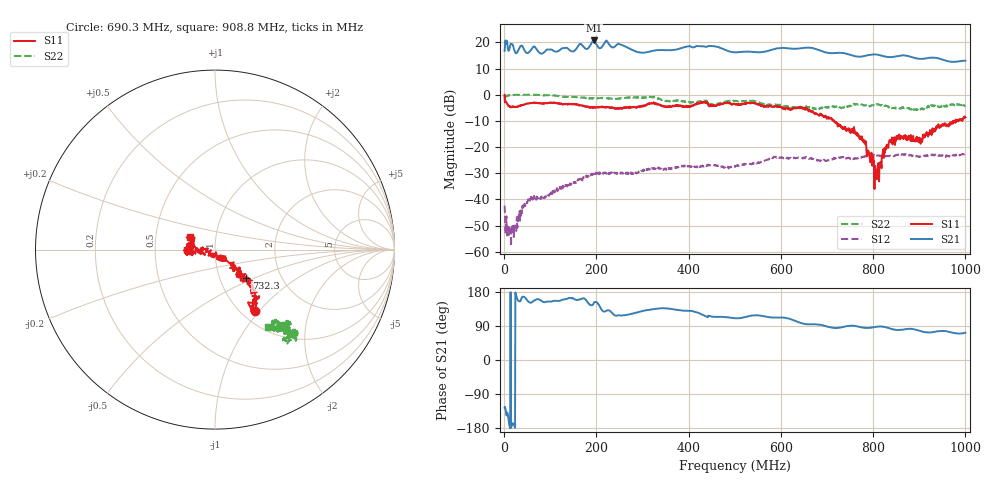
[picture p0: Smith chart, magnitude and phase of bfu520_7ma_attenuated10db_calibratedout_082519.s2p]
! created by kelvin at Sun Aug 25 10:57:43 EDT 2019
! generated using vna/J Version 3.3.2
# Hz S DB R 50.0
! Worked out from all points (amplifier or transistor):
!   1501 points, 1 MHz to 1 GHz, reference 50 ohm
!   highest |S21| = 20.8 dB at 194.1 MHz (marker M1)
!   |S21| within 3 dB of that: 382.6 MHz to 471.3 MHz (88.76 MHz wide, 20.8 % of centre)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
!   unconditionally stable (mu >= 1): 687.1 MHz to 789.8 MHz; 832.2 MHz to 850.4 MHz; 878.2 MHz to 916 MHz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
!   at 167.5 MHz: K = 0.24, MSG = 25.6 dB, |S12| = -31.9 dB
!   at 500.5 MHz: K = 0.45, MSG = 21.9 dB, |S12| = -27.6 dB
!   at 1 GHz: K = 0.78, MSG = 17.9 dB, |S12| = -22.8 dB
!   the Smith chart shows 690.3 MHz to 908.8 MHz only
!   S11 on the Smith chart (normalised r, x): 690.3 MHz: 1.15, -0.94; 732.3 MHz: 1.34, -0.45; 908.8 MHz: 0.75, +0.10
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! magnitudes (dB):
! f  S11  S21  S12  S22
! 1 MHz  0.0  16.8  -42.4  -0.7
! 6.994 MHz  -3.6  19.3  -50.3  -0.4
! 16.32 MHz  -4.6  19.4  -51.2  -0.1
! 53.61 MHz  -3.3  16.2  -40.3  0.0
! 148.9 MHz  -3.7  16.6  -33.9  -0.9
! 167.5 MHz  -4.1  19.2  -31.9  -1.0
! 179.5 MHz  -4.7  17.5  -31.3  -1.2
! 194.1 MHz  -4.7  20.8  -30.2  -1.3
! 207.5 MHz  -4.6  17.8  -29.7  -1.3
! 221.4 MHz  -4.9  20.7  -30.2  -1.3
! 294 MHz  -4.6  16.2  -29.6  -1.2
! 334 MHz  -3.7  17.1  -27.9  -1.6
! 449.2 MHz  -4.1  18.7  -26.7  -3.7
! 500.5 MHz  -3.5  16.2  -27.6  -2.3
! 667 MHz  -6.4  17.9  -24.4  -5.0
! 690.3 MHz  -7.8  16.6  -25.3  -4.9
! 732.3 MHz  -12.5  16.0  -23.8  -5.0
! 780.2 MHz  -18.0  14.8  -23.7  -4.0
! 807.5 MHz  -32.1  15.4  -23.2  -3.7
! 833.5 MHz  -18.6  14.4  -23.4  -4.7
! 908.8 MHz  -16.3  13.8  -23.3  -5.6
! 1 GHz  -8.7  13.0  -22.8  -4.3
